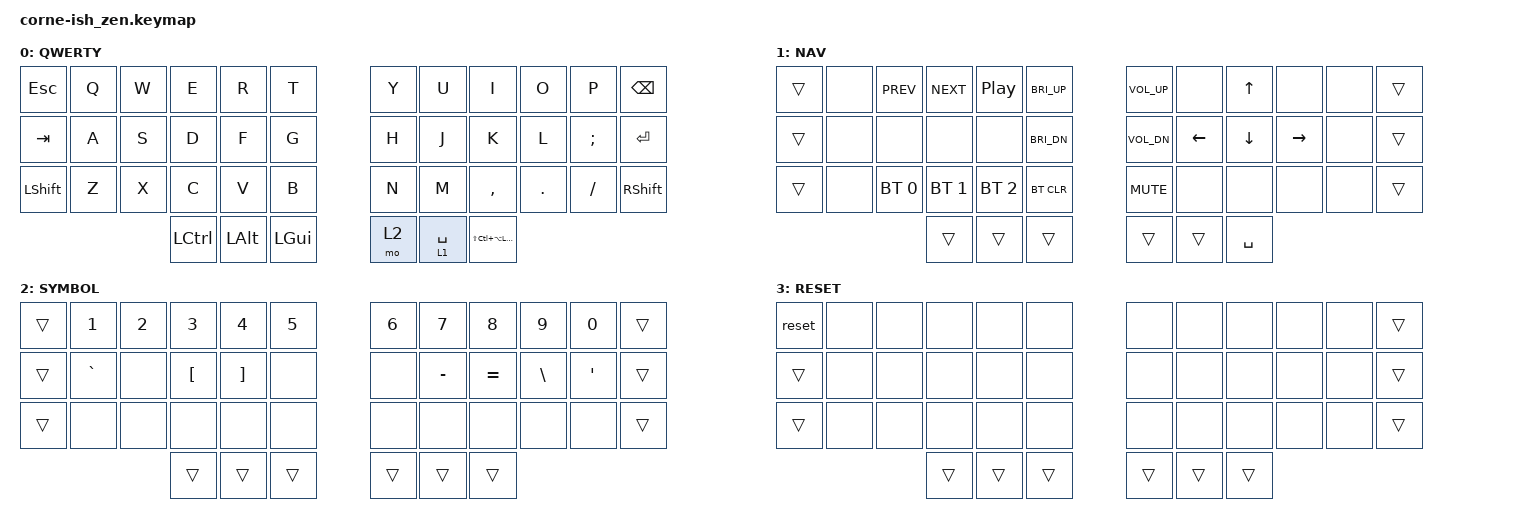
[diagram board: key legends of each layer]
/*
*
* Copyright (c) 2021 Darryl deHaan
* SPDX-License-Identifier: MIT
*
*/

/*
* For a more readable preview of this keymap,
* see KEYMAP_GUIDE.png at the root of this repo.
*/

#include <behaviors.dtsi>
#include <dt-bindings/zmk/keys.h>
#include <dt-bindings/zmk/bt.h>

/ {
        keymap {
                compatible = "zmk,keymap";

                default_layer {
                        label = "QWERTY";
// ---------------------------------------------------------------------------------------------------------------------------------------------------------------
                        bindings = <
   &kp ESC      &kp Q        &kp W        &kp E        &kp R        &kp T           &kp Y        &kp U        &kp I        &kp O        &kp P        &kp BSPC
   &kp TAB      &kp A        &kp S        &kp D        &kp F        &kp G           &kp H        &kp J        &kp K        &kp L        &kp SEMI     &kp RET
   &kp LSHFT    &kp Z        &kp X        &kp C        &kp V        &kp B           &kp N        &kp M        &kp COMMA    &kp DOT      &kp FSLH     &kp RSHFT
                                          &kp LCTRL    &kp LALT     &kp LGUI        &mo 2        &lt 1 SPACE  &kp LS(LC(LA(LGUI)))
                        >;
                };
                lower_layer {
                        label = "NAV";
// ---------------------------------------------------------------------------------------------------------------------------------------------------------------
                        bindings = <
   &trans       &none        &kp C_PREV   &kp C_NEXT   &kp C_PP     &kp C_BRI_UP    &kp C_VOL_UP &none        &kp UP       &none        &none        &trans
   &trans       &none        &none        &none        &none        &kp C_BRI_DN    &kp C_VOL_DN &kp LEFT     &kp DOWN     &kp RIGHT    &none        &trans
   &trans       &none        &bt BT_SEL 0 &bt BT_SEL 1 &bt BT_SEL 2 &bt BT_CLR      &kp C_MUTE   &none        &none        &none        &none        &trans
                          	          &trans       &trans       &trans          &trans       &trans       &kp SPACE
                        >;
                };

                raise_layer {
                        label = "SYMBOL";
// ---------------------------------------------------------------------------------------------------------------------------------------------------------------
                        bindings = <
   &trans       &kp N1       &kp N2       &kp N3       &kp N4       &kp N5          &kp N6       &kp N7       &kp N8       &kp N9       &kp N0       &trans
   &trans       &kp GRAVE    &none        &kp LBKT     &kp RBKT     &none           &none        &kp MINUS    &kp EQUAL    &kp BSLH     &kp APOS     &trans
   &trans       &none        &none        &none        &none        &none           &none        &none        &none        &none        &none        &trans
                                          &trans       &trans       &trans          &trans       &trans       &trans
                        >;
                };
// ---------------------------------------------------------------------------------------------------------------------------------------------------------------
// NOTE: reset layer's only purpose is to have &reset somewhere on the keymap, otherwise &lt won't work.
// NOTE: this issue is documented in LowPro Discord chatter rather than on GitHub.
// ---------------------------------------------------------------------------------------------------------------------------------------------------------------
                unused_reset_layer {
                        label = "RESET";
                        bindings = <
   &reset &none &none &none  &none  &none     &none  &none  &none &none &none &trans
   &trans &none &none &none  &none  &none     &none  &none  &none &none &none &trans
   &trans &none &none &none  &none  &none     &none  &none  &none &none &none &trans
                      &trans &trans &trans    &trans &trans &trans
                        >;
                };
        };
};
